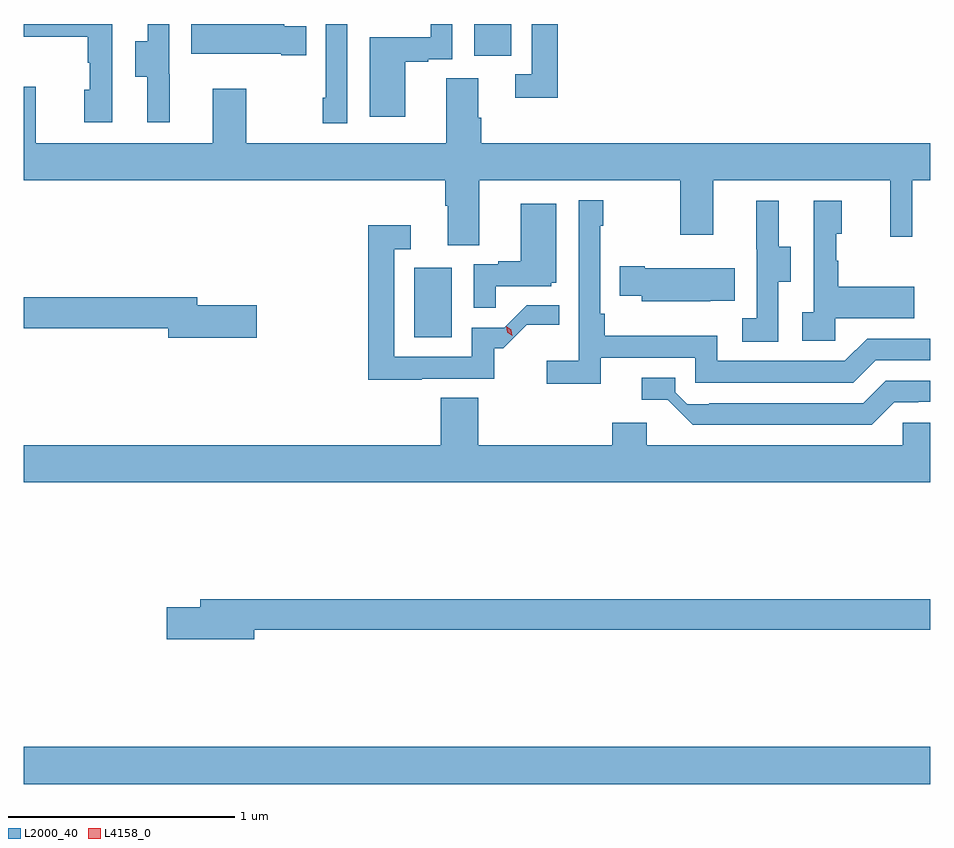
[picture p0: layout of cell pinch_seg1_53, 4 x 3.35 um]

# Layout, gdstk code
import gdstk
lib = gdstk.Library(unit=1e-6, precision=1e-09)
def R(c, l, rs):  # rectangles x0, y0, x1, y1
    for r in rs: c.add(gdstk.rectangle(r[:2], r[2:], *l))
def P(c, l, *ps):  # polygons
    for p in ps: c.add(gdstk.Polygon(p, *l))
L2000_40 = (2000, 40)
L4158_0 = (4158, 0)

pinch_seg1_53 = lib.new_cell('pinch_seg1_53')
R(pinch_seg1_53, L2000_40, [(1056.48,566.384,1060.48,566.548), (1058.204,568.356,1058.368,568.663), (1058.468,569.598,1058.632,569.738)])
P(pinch_seg1_53, L2000_40, [(1058.164,569.571),(1058.264,569.571),(1058.264,569.583),(1058.37,569.583),(1058.37,569.738),(1058.275,569.738),(1058.275,569.679),(1058.006,569.679),(1058.006,569.328),(1058.164,569.328)],
  [(1057.908,569.738),(1057.812,569.738),(1057.812,569.413),(1057.8,569.413),(1057.8,569.301),(1057.908,569.301)],
  [(1056.87,569.738),(1056.48,569.738),(1056.48,569.681),(1056.762,569.681),(1056.762,569.567),(1056.772,569.567),(1056.772,569.448),(1056.746,569.448),(1056.746,569.304),(1056.87,569.304)],
  [(1057.124,569.517),(1057.122,569.517),(1057.122,569.738),(1057.026,569.738),(1057.026,569.661),(1056.971,569.661),(1056.971,569.506),(1057.025,569.506),(1057.025,569.304),(1057.124,569.304)],
  [(1058.837,569.738),(1058.721,569.738),(1058.721,569.517),(1058.649,569.517),(1058.649,569.412),(1058.837,569.412)],
  [(1057.727,569.728),(1057.629,569.728),(1057.629,569.738),(1057.219,569.738),(1057.219,569.606),(1057.616,569.606),(1057.616,569.599),(1057.727,569.599)],
  [(1058.491,569.048),(1059.376,569.048),(1059.376,568.809),(1059.523,568.809),(1059.523,569.048),(1060.304,569.048),(1060.304,568.8),(1060.401,568.8),(1060.401,569.048),(1060.48,569.048),(1060.48,569.212),(1058.498,569.212),(1058.498,569.324),(1058.485,569.324),(1058.485,569.498),(1058.345,569.498),(1058.345,569.212),(1057.461,569.212),(1057.461,569.452),(1057.313,569.452),(1057.313,569.212),(1056.533,569.212),(1056.533,569.461),(1056.48,569.461),(1056.48,569.048),(1058.339,569.048),(1058.339,568.936),(1058.351,568.936),(1058.351,568.762),(1058.491,568.762)],
  [(1059.026,568.266),(1059.444,568.266),(1059.444,568.155),(1060.141,568.155),(1060.24,568.254),(1060.48,568.254),(1060.48,568.35),(1060.203,568.35),(1060.104,568.251),(1059.54,568.251),(1059.54,568.363),(1059.044,568.363),(1059.044,568.459),(1059.024,568.459),(1059.024,568.847),(1059.037,568.847),(1059.037,568.96),(1058.928,568.96),(1058.928,568.252),(1058.787,568.252),(1058.787,568.15),(1059.026,568.15)],
  [(1060.062,568.439),(1060.409,568.439),(1060.409,568.579),(1060.075,568.579),(1060.075,568.694),(1060.065,568.694),(1060.065,568.812),(1060.09,568.812),(1060.09,568.957),(1059.966,568.957),(1059.966,568.466),(1059.915,568.466),(1059.915,568.341),(1060.062,568.341)],
  [(1059.81,568.6),(1059.865,568.6),(1059.865,568.755),(1059.811,568.755),(1059.811,568.957),(1059.713,568.957),(1059.713,568.743),(1059.714,568.743),(1059.714,568.439),(1059.651,568.439),(1059.651,568.336),(1059.81,568.336)],
  [(1058.562,568.581),(1058.808,568.581),(1058.808,568.596),(1058.83,568.596),(1058.83,568.945),(1058.672,568.945),(1058.672,568.69),(1058.573,568.69),(1058.573,568.677),(1058.466,568.677),(1058.466,568.486),(1058.562,568.486)],
  [(1058.237,568.173),(1058.556,568.173),(1058.556,568.308),(1058.596,568.308),(1058.699,568.411),(1058.843,568.411),(1058.843,568.496),(1058.699,568.496),(1058.6,568.397),(1058.457,568.397),(1058.457,568.269),(1058.115,568.269),(1058.115,568.743),(1058.188,568.743),(1058.188,568.849),(1057.999,568.849),(1057.999,568.168),(1058.237,568.168)],
  [(1059.509,568.517),(1059.617,568.517),(1059.617,568.66),(1059.22,568.66),(1059.22,568.668),(1059.109,568.668),(1059.109,568.538),(1059.207,568.538),(1059.207,568.514),(1059.509,568.514)],
  [(1057.507,568.496),(1057.246,568.496),(1057.246,568.532),(1056.48,568.532),(1056.48,568.396),(1057.118,568.396),(1057.118,568.354),(1057.507,568.354)],
  [(1060.321,568.068),(1060.428,568.068),(1060.428,568.071),(1060.48,568.071),(1060.48,568.164),(1060.284,568.164),(1060.185,568.065),(1059.505,568.065),(1059.505,568.059),(1059.408,568.059),(1059.354,568.113),(1059.354,568.176),(1059.207,568.176),(1059.207,568.08),(1059.321,568.08),(1059.432,567.969),(1060.222,567.969)],
  [(1060.48,567.978),(1060.359,567.978),(1060.359,567.88),(1059.229,567.88),(1059.229,567.979),(1059.077,567.979),(1059.077,567.88),(1058.486,567.88),(1058.486,568.088),(1058.321,568.088),(1058.321,567.88),(1056.48,567.88),(1056.48,567.716),(1060.48,567.716)],
  [(1057.498,567.064),(1060.48,567.064),(1060.48,567.2),(1057.259,567.2),(1057.259,567.164),(1057.11,567.164),(1057.11,567.022),(1057.498,567.022)])
P(pinch_seg1_53, L4158_0, [(1058.636,568.362),(1058.636,568.362),(1058.614,568.378),(1058.609,568.405),(1058.609,568.405),(1058.609,568.405),(1058.631,568.389),(1058.636,568.363)])

lib.write_gds('pinch_seg1_53.gds')
